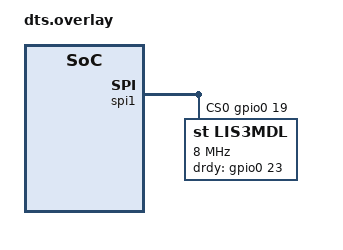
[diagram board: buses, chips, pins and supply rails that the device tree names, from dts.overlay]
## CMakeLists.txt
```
cmake_minimum_required(VERSION 3.8.2)
include($ENV{ZEPHYR_BASE}/cmake/app/boilerplate.cmake NO_POLICY_SCOPE)
project(lis3mdl)

FILE(GLOB app_sources src/*.c)
target_sources(app PRIVATE ${app_sources})
```

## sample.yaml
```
sample:
  name: LIS3MDL magnetometer sensor
tests:
  test:
    harness: console
    tags: sensors
    depends_on: lis3mdl
```

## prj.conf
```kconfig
CONFIG_STDOUT_CONSOLE=y
CONFIG_I2C=y
CONFIG_SPI=y
CONFIG_SENSOR=y
CONFIG_LIS3MDL=y
```

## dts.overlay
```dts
&spi1 {
	status = "ok";
    cs-gpios = <&gpio0 19 0>;

    lis3mdl@0 {
        label = "LIS3MDL";
        compatible = "st,lis3mdl";
        reg = <0>;
        spi-max-frequency = <8000000>;
        drdy-gpios = <&gpio0 23 0>;
    };
};
```

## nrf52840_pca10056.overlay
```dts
&spi0 {
	status = "ok";
    cs-gpios = <&gpio0 19 0>;

    lis3mdl@0 {
        label = "LIS3MDL";
        compatible = "st,lis3mdl";
        reg = <0>;
        spi-max-frequency = <8000000>;
        drdy-gpios = <&gpio0 23 0>;
    };
};
```

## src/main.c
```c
/*
 * Copyright (c) 2018 STMicroelectronics
 *
 * SPDX-License-Identifier: Apache-2.0
 */

#include <zephyr.h>
#include <device.h>
#include <sensor.h>
#include <stdio.h>
#include <misc/util.h>

static inline float out_ev(struct sensor_value *val)
{
	return (val->val1 + (float)val->val2 / 1000000);
}

static int print_samples;
static int lis3mdl_trig_cnt;

static struct sensor_value magn_x_out, magn_y_out, magn_z_out;

#ifdef CONFIG_LIS3MDL_TRIGGER
static void lis3mdl_trigger_handler(struct device *dev,
				    struct sensor_trigger *trig)
{
	static struct sensor_value magn_x, magn_y, magn_z;
	lis3mdl_trig_cnt++;

	/* lis3mdl magn */
	sensor_sample_fetch_chan(dev, SENSOR_CHAN_MAGN_XYZ);
	sensor_channel_get(dev, SENSOR_CHAN_MAGN_X, &magn_x);
	sensor_channel_get(dev, SENSOR_CHAN_MAGN_Y, &magn_y);
	sensor_channel_get(dev, SENSOR_CHAN_MAGN_Z, &magn_z);


	if (print_samples) {
		print_samples = 0;
		magn_x_out = magn_x;
		magn_y_out = magn_y;
		magn_z_out = magn_z;
	}

}
#endif

void main(void)
{
	int cnt = 0;
	char out_str[64];
	struct device *lis3mdl_dev = device_get_binding(DT_ST_LIS3MDL_0_LABEL);

	if (lis3mdl_dev == NULL) {
		printk("Could not get LIS3MDL device\n");
		return;
	}

#ifdef CONFIG_LIS3MDL_TRIGGER
	struct sensor_trigger trig;

	trig.type = SENSOR_TRIG_DATA_READY;
	trig.chan = SENSOR_CHAN_ACCEL_XYZ;
	sensor_trigger_set(lis3mdl_dev, &trig, lis3mdl_trigger_handler);
#endif

	if (sensor_sample_fetch(lis3mdl_dev) < 0) {
		printk("Sensor sample update error\n");
		return;
	}

	while (1) {
		/* Erase previous */
		printk("\0033\014");
		printf("LIS3MDL sensor samples:\n\n");

		/* lis3mdl external magn */
		sprintf(out_str, "magn (%f %f %f) gauss", out_ev(&magn_x_out),
							 out_ev(&magn_y_out),
							 out_ev(&magn_z_out));
		printk("%s\n", out_str);

		printk("- (%d) (trig_cnt: %d)\n\n", ++cnt, lis3mdl_trig_cnt);
		print_samples = 1;
		k_sleep(2000);
	}
}
```
